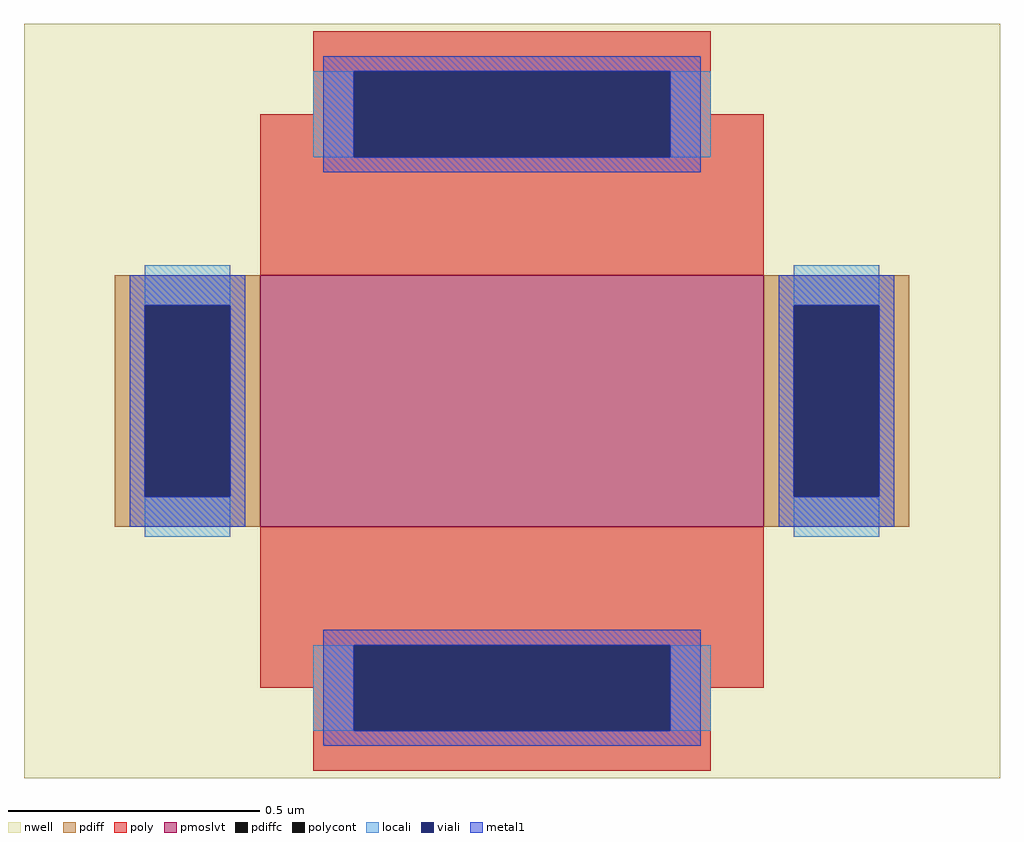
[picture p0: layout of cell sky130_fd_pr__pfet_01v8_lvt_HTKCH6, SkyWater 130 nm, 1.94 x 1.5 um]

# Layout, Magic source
magic
tech sky130A
magscale 1 2
<< nwell >>
rect -194 -150 194 150
<< pmoslvt >>
rect -100 -50 100 50
<< pdiff >>
rect -158 38 -100 50
rect -158 -38 -146 38
rect -112 -38 -100 38
rect -158 -50 -100 -38
rect 100 38 158 50
rect 100 -38 112 38
rect 146 -38 158 38
rect 100 -50 158 -38
<< pdiffc >>
rect -146 -38 -112 38
rect 112 -38 146 38
<< poly >>
rect -79 131 79 147
rect -79 114 -63 131
rect -100 97 -63 114
rect 63 114 79 131
rect 63 97 100 114
rect -100 50 100 97
rect -100 -97 100 -50
rect -100 -114 -63 -97
rect -79 -131 -63 -114
rect 63 -114 100 -97
rect 63 -131 79 -114
rect -79 -147 79 -131
<< polycont >>
rect -63 97 63 131
rect -63 -131 63 -97
<< locali >>
rect -79 97 -63 131
rect 63 97 79 131
rect -146 38 -112 54
rect -146 -54 -112 -38
rect 112 38 146 54
rect 112 -54 146 -38
rect -79 -131 -63 -97
rect 63 -131 79 -97
<< viali >>
rect -63 97 63 131
rect -146 -38 -112 38
rect 112 -38 146 38
rect -63 -131 63 -97
<< metal1 >>
rect -75 131 75 137
rect -75 97 -63 131
rect 63 97 75 131
rect -75 91 75 97
rect -152 38 -106 50
rect -152 -38 -146 38
rect -112 -38 -106 38
rect -152 -50 -106 -38
rect 106 38 152 50
rect 106 -38 112 38
rect 146 -38 152 38
rect 106 -50 152 -38
rect -75 -97 75 -91
rect -75 -131 -63 -97
rect 63 -131 75 -97
rect -75 -137 75 -131
<< properties >>
string gencell sky130_fd_pr__pfet_01v8_lvt
string library sky130
string parameters w 0.5 l 1 m 1 nf 1 diffcov 100 polycov 75 guard 0 glc 1 grc 1 gtc 1 gbc 1 tbcov 100 rlcov 100 topc 1 botc 1 poverlap 0 doverlap 1 lmin 0.35 wmin 0.42 class mosfet compatible {sky130_fd_pr__pfet_01v8  sky130_fd_pr__pfet_01v8_lvt sky130_fd_pr__pfet_01v8_hvt  sky130_fd_pr__pfet_g5v0d10v5} full_metal 1 viasrc 100 viadrn 100 viagate 75 viagb 0 viagr 0 viagl 0 viagt 0
<< end >>
